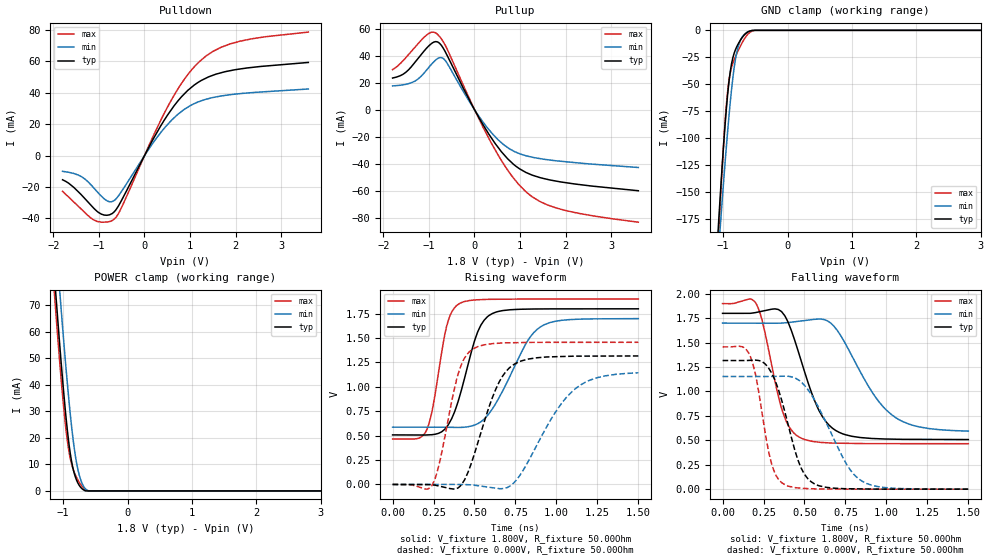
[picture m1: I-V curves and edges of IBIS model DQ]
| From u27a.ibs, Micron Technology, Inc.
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|   MODEL DQ
[Model]   DQ
Model_type   I/O
Vinl = 650.000mV
Vinh = 1.150V
Vmeas = 900.000mV
Vref = 900.000mV
Cref = 0.0pF
Rref = 25.000Ohm
|   typ   min   max
C_comp   3.170pF   2.750pF   3.620pF
[Model Spec]
| Input threshold voltage corners
Vinh   0.650V   0.600V   0.700V
Vinl   1.150V   1.100V   1.200V
| Measurement voltage corners
Vmeas   0.900V   0.850V   0.950V
[Voltage Range]   1.800V   1.700V   1.900V
[Temperature Range]   25.0   85.0   0.0
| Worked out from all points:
|   slope of the pulldown table from 0 to 0.27 V, typ, clamps not added: 18.5 ohm
|   slope of the pullup table from 0 to 0.27 V, typ, clamps not added: 17.2 ohm
|   GND clamp passes 1 mA (typ) near -0.60 V on its own axis
|   POWER clamp passes 1 mA (typ) near -0.71 V on its own axis
|   falling waveform, V_fixture 1.800V, R_fixture 50.00Ohm: 20-80 % time 165ps typ, 243ps min, 118ps max; typ from 1.8 V to 0.508 V
|   rising waveform, V_fixture 1.800V, R_fixture 50.00Ohm: 20-80 % time 132ps typ, 204ps min, 87.6ps max; typ from 0.508 V to 1.8 V
|   rising waveform, V_fixture 0.000V, R_fixture 50.00Ohm: 20-80 % time 162ps typ, 248ps min, 111ps max; typ from 0 V to 1.32 V
|   falling waveform, V_fixture 0.000V, R_fixture 50.00Ohm: 20-80 % time 135ps typ, 208ps min, 92.3ps max; typ from 1.32 V to 0 V
[Pulldown]
|   Voltage   I(typ)   I(min)   I(max)
-1.8V     -15.39mA   -10.01mA   -22.71mA
-1.39V    -24.86mA   NA         NA
-1.11V    -33.64mA   NA         NA
-890mV    -37.82mA   -27.4mA    NA
-710mV    -36.89mA   NA         NA
-510mV    -28.82mA   NA         NA
510mV     25.94mA    NA         NA
810mV     37.34mA    NA         NA
1.17V     46.45mA    34.06mA    NA
1.57V     51.83mA    NA         NA
1.99V     54.65mA    NA         NA
3.6V      59.28mA    42.38mA    78.6mA
[GND Clamp]
|   Voltage   I(typ)   I(min)   I(max)
-1.8V     -988.4mA   -872.2mA   -1.221A
-1.09V    -197.4mA   -220.2mA   NA
-1.07V    -177.6mA   -203.3mA   NA
-1.05V    -158.2mA   -186.6mA   NA
-1.03V    -139.4mA   -170.2mA   NA
-970mV    -87.75mA   -122.9mA   NA
-910mV    -47.87mA   -79.92mA   NA
-850mV    -25.59mA   -44.53mA   NA
-790mV    -15.41mA   -20.86mA   NA
-730mV    -8.923mA   -9.032mA   NA
-630mV    -2.057mA   -1.813mA   NA
3.6V      0A         0A         0A
[Pullup]
|   Voltage   I(typ)   I(min)   I(max)
-1.8V     23.48mA    17.65mA    29.72mA
-1.39V    31.73mA    NA         NA
-1.05V    45.7mA     NA         NA
-850mV    50.46mA    NA         NA
-650mV    43.44mA    NA         NA
0V        65.58uA    56.97uA    76.02uA
450mV     -24.8mA    NA         NA
850mV     -40.17mA   NA         NA
1.13V     -46.43mA   NA         NA
1.45V     -50.35mA   NA         NA
1.89V     -53.42mA   NA         NA
3.6V      -59.96mA   -42.76mA   -83.25mA
[POWER Clamp]
|   Voltage   I(typ)   I(min)   I(max)
-1.8V     315.4mA    332.9mA    311.1mA
-1.13V    79.3mA     99.81mA    NA
-1.11V    72.83mA    93.33mA    NA
-1.05V    54.04mA    74.3mA     NA
-990mV    36.66mA    56.1mA     NA
-950mV    26.38mA    44.66mA    NA
-910mV    17.73mA    34.01mA    NA
-870mV    11.22mA    24.49mA    NA
-810mV    5.244mA    13.19mA    NA
-770mV    2.925mA    7.971mA    NA
-670mV    208.5uA    1.257mA    NA
3.6V      0A         0A         0A
[Ramp]
R_load = 50.00Ohm
|   typ   min   max
dV/dt_r   790.174mV/162.051ps 686.522mV/248.077ps 874.211mV/111.099ps
dV/dt_f   775.209mV/164.368ps 663.441mV/243.195ps 860.694mV/117.726ps
[Falling Waveform]
V_fixture = 1.800V
V_fixture_min = 1.700V
V_fixture_max = 1.900V
R_fixture = 50.00Ohm
|   Time   V(typ)   V(min)   V(max)
0s        1.8V       1.7V       1.9V
200ps     1.808V     NA         NA
360ps     1.818V     NA         NA
400ps     1.709V     NA         NA
460ps     1.421V     NA         NA
590ps     800.4mV    NA         NA
710ps     583mV      NA         NA
990ps     513.6mV    NA         NA
1.1ns     510.2mV    NA         NA
1.5ns     508mV      594.2mV    465.5mV
[Rising Waveform]
V_fixture = 1.800V
V_fixture_min = 1.700V
V_fixture_max = 1.900V
R_fixture = 50.00Ohm
|   Time   V(typ)   V(min)   V(max)
0s        507.9mV    587.1mV    465.5mV
200ps     506.5mV    NA         NA
240ps     509.9mV    NA         NA
340ps     611mV      NA         NA
400ps     849.5mV    NA         NA
520ps     1.565V     NA         NA
610ps     1.752V     NA         NA
860ps     1.798V     NA         NA
970ps     1.799V     NA         NA
1.5ns     1.8V       1.7V       1.9V
[Rising Waveform]
V_fixture = 0.000V
V_fixture_min = 0.000V
V_fixture_max = 0.000V
R_fixture = 50.00Ohm
|   Time   V(typ)   V(min)   V(max)
0s        24.08uV    34.05uV    -39.88uV
230ps     -1.558mV   NA         NA
260ps     -7.421mV   NA         NA
410ps     -20.97mV   NA         NA
500ps     315.7mV    NA         NA
630ps     976.5mV    NA         NA
750ps     1.239V     NA         NA
940ps     1.307V     NA         NA
1.11ns    1.315V     NA         NA
1.5ns     1.317V     1.144V     1.457V
[Falling Waveform]
V_fixture = 0.000V
V_fixture_min = 0.000V
V_fixture_max = 0.000V
R_fixture = 50.00Ohm
|   Time   V(typ)   V(min)   V(max)
0s        1.317V     1.154V     1.457V
140ps     1.317V     NA         NA
200ps     1.321V     NA         NA
300ps     1.188V     NA         NA
380ps     793mV      NA         NA
480ps     214.8mV    NA         NA
580ps     39.84mV    NA         NA
740ps     4.994mV    NA         NA
930ps     722.4uV    NA         NA
1.5ns     41.05uV    282.5uV    35.59uV
